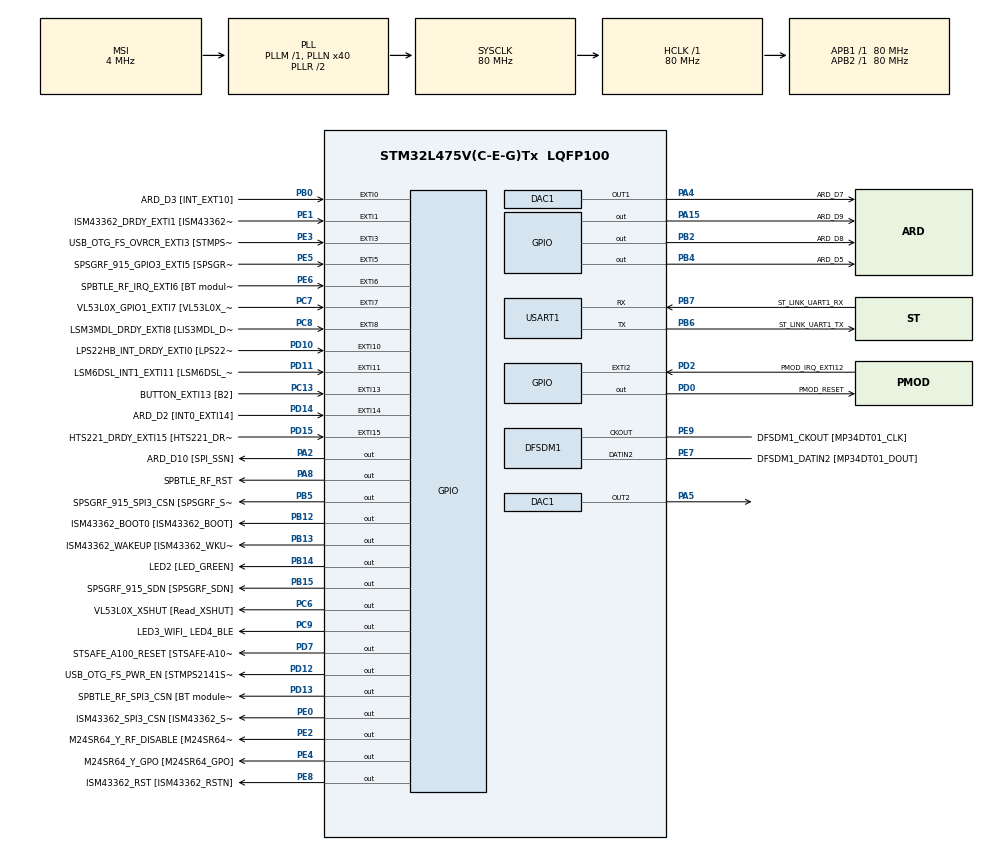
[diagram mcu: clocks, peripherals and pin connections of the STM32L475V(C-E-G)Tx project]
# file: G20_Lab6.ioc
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DAC1.DAC_Channel-DAC_OUT2=DAC_CHANNEL_2
DFSDM1.Divider=25
DFSDM1.FastMode_reg_FIL0=ENABLE
DFSDM1.FastMode_reg_FIL1=ENABLE
DFSDM1.Filter_regChannel_FIL0=DFSDM_CHANNEL_1
DFSDM1.Filter_regChannel_FIL1=DFSDM_CHANNEL_2
DFSDM1.Fosr_FIL0=200
DFSDM1.Fosr_FIL1=200
DFSDM1.SincOrder_FIL0=DFSDM_FILTER_SINC4_ORDER
DFSDM1.SincOrder_FIL1=DFSDM_FILTER_SINC4_ORDER
Dma.Request0=USART1_RX
Dma.Request1=USART1_TX
Dma.USART1_RX.0.Direction=DMA_PERIPH_TO_MEMORY
Dma.USART1_RX.0.Instance=DMA1_Channel5
Dma.USART1_RX.0.MemDataAlignment=DMA_MDATAALIGN_BYTE
Dma.USART1_RX.0.MemInc=DMA_MINC_ENABLE
Dma.USART1_RX.0.Mode=DMA_NORMAL
Dma.USART1_RX.0.PeriphDataAlignment=DMA_PDATAALIGN_BYTE
Dma.USART1_RX.0.PeriphInc=DMA_PINC_DISABLE
Dma.USART1_RX.0.Priority=DMA_PRIORITY_LOW
Dma.USART1_TX.1.Direction=DMA_MEMORY_TO_PERIPH
Dma.USART1_TX.1.Instance=DMA1_Channel4
Dma.USART1_TX.1.MemDataAlignment=DMA_MDATAALIGN_BYTE
Dma.USART1_TX.1.MemInc=DMA_MINC_ENABLE
Dma.USART1_TX.1.Mode=DMA_NORMAL
Dma.USART1_TX.1.PeriphDataAlignment=DMA_PDATAALIGN_BYTE
Dma.USART1_TX.1.PeriphInc=DMA_PINC_DISABLE
Dma.USART1_TX.1.Priority=DMA_PRIORITY_LOW
Mcu.Family=STM32L4
Mcu.Name=STM32L475V(C-E-G)Tx
Mcu.Package=LQFP100
NVIC.DMA1_Channel4_IRQn=true\:0\:0\:false\:false\:true\:false
NVIC.DMA1_Channel5_IRQn=true\:0\:0\:false\:false\:true\:false
NVIC.EXTI15_10_IRQn=true\:0\:0\:false\:false\:true\:true
NVIC.EXTI9_5_IRQn=true\:0\:0\:false\:false\:true\:true
NVIC.PriorityGroup=NVIC_PRIORITYGROUP_4
NVIC.TIM2_IRQn=true\:0\:0\:false\:false\:true\:true
NVIC.TIM6_DAC_IRQn=true\:0\:0\:false\:false\:true\:true
NVIC.USART1_IRQn=true\:0\:0\:false\:false\:true\:true
PA0.GPIO_Label=ARD_D1 [UART4_TX]
PA0.Signal=UART4_TX
PA1.GPIO_Label=ARD_D0 [UART4_RX]
PA1.Signal=UART4_RX
PA10.GPIO_Label=USB_OTG_FS_ID
PA10.Signal=USB_OTG_FS_ID
PA11.GPIO_Label=USB_OTG_FS_DM
PA11.Signal=USB_OTG_FS_DM
PA12.GPIO_Label=USB_OTG_FS_DP
PA12.Signal=USB_OTG_FS_DP
PA13\ (JTMS-SWDIO).GPIO_Label=SYS_JTMS_SWDIO
PA13\ (JTMS-SWDIO).Signal=SYS_JTMS-SWDIO
PA14\ (JTCK-SWCLK).GPIO_Label=SYS_JTCK_SWCLK
PA14\ (JTCK-SWCLK).Signal=SYS_JTCK-SWCLK
PA15\ (JTDI).GPIO_Label=ARD_D9
PA15\ (JTDI).Signal=GPIO_Output
PA2.GPIO_Label=ARD_D10 [SPI_SSN]
PA2.Signal=GPIO_Output
PA3.GPIO_Label=ARD_D4
PA3.Signal=S_TIM2_CH4
PA4.GPIO_Label=ARD_D7
PA4.Signal=SharedAnalog_PA4
PA5.Signal=COMP_DAC12_group
PA6.GPIO_Label=ARD_D12 [SPI1_MISO]
PA6.Signal=SPI1_MISO
PA7.GPIO_Label=ARD_D11 [SPI1_MOSI]
PA7.Signal=SPI1_MOSI
PA8.GPIO_Label=SPBTLE_RF_RST
PA8.Signal=GPIO_Output
PA9.GPIO_Label=USB_OTG_FS_VBUS [STMPS2141STR_OUT]
PA9.Signal=USB_OTG_FS_VBUS
PB0.GPIO_Label=ARD_D3 [INT_EXT10]
PB0.Signal=GPXTI0
PB1.GPIO_Label=ARD_D6 [ADC1_IN6]
PB1.Signal=ADCx_IN16
PB10.GPIO_Label=INTERNAL_I2C2_SCL [VL53L0X_SCL]
PB10.Signal=I2C2_SCL
PB11.GPIO_Label=INTERNAL_I2C2_SDA [VL53L0X_SDA]
PB11.Signal=I2C2_SDA
PB12.GPIO_Label=ISM43362_BOOT0 [ISM43362_BOOT]
PB12.Signal=GPIO_Output
PB13.GPIO_Label=ISM43362_WAKEUP [ISM43362_WKUP]
PB13.Signal=GPIO_Output
PB14.GPIO_Label=LED2 [LED_GREEN]
PB14.Signal=GPIO_Output
PB15.GPIO_Label=SPSGRF_915_SDN [SPSGRF_SDN]
PB15.Signal=GPIO_Output
PB2.GPIO_Label=ARD_D8
PB2.Signal=GPIO_Output
PB3\ (JTDO-TRACESWO).GPIO_Label=SYS_JTD0_SWO
PB3\ (JTDO-TRACESWO).Signal=SYS_JTDO-SWO
PB4\ (NJTRST).GPIO_Label=ARD_D5
PB4\ (NJTRST).Signal=GPIO_Output
PB5.GPIO_Label=SPSGRF_915_SPI3_CSN [SPSGRF_SPI_CS]
PB5.Signal=GPIO_Output
PB6.GPIO_Label=ST_LINK_UART1_TX
PB6.Mode=Asynchronous
PB6.Signal=USART1_TX
PB7.GPIO_Label=ST_LINK_UART1_RX
PB7.Mode=Asynchronous
PB7.Signal=USART1_RX
PB8.GPIO_Label=ARD_D15 [I2C1_SCL]
PB8.Signal=I2C1_SCL
PB9.GPIO_Label=ARD_D14 [I2C1_SDA]
PB9.Signal=I2C1_SDA
PC0.GPIO_Label=ARD_A5 [ADC]
PC0.Signal=ADCx_IN1
PC1.GPIO_Label=ARD_A4 [ADC]
PC1.Signal=ADCx_IN2
PC10.GPIO_Label=INTERNAL_SPI3_SCK [BT module_SPI_SCLK]
PC10.Signal=SPI3_SCK
PC11.GPIO_Label=INTERNAL_SPI3_MISO [BT module_SPI_MISO]
PC11.Signal=SPI3_MISO
PC12.GPIO_Label=INTERNAL_SPI3_MOSI [BT module_SPI_MOSI]
PC12.Signal=SPI3_MOSI
PC13.GPIO_Label=BUTTON_EXTI13 [B2]
PC13.GPIO_ModeDefaultEXTI=GPIO_MODE_IT_FALLING
PC13.Signal=GPXTI13
PC14-OSC32_IN\ (PC14).Signal=RCC_OSC32_IN
PC15-OSC32_OUT\ (PC15).Signal=RCC_OSC32_OUT
PC2.GPIO_Label=ARD_A3 [ADC]
PC2.Signal=ADCx_IN3
PC3.GPIO_Label=ARD_A2 [ADC]
PC3.Signal=ADCx_IN4
PC4.GPIO_Label=ARD_A1 [ADC]
PC4.Signal=ADCx_IN13
PC5.GPIO_Label=ARD_A0 [ADC]
PC5.Signal=ADCx_IN14
PC6.GPIO_Label=VL53L0X_XSHUT [Read_XSHUT]
PC6.Signal=GPIO_Output
PC7.GPIO_Label=VL53L0X_GPIO1_EXTI7 [VL53L0X_GPIO1]
PC7.Signal=GPXTI7
PC8.GPIO_Label=LSM3MDL_DRDY_EXTI8 [LIS3MDL_DRDY]
PC8.Signal=GPXTI8
PC9.GPIO_Label=LED3_WIFI_ LED4_BLE
PC9.Signal=GPIO_Output
PD0.GPIO_Label=PMOD_RESET
PD0.Signal=GPIO_Output
PD1.GPIO_Label=PMOD_SPI2_SCK
PD1.Signal=SPI2_SCK
PD10.GPIO_Label=LPS22HB_INT_DRDY_EXTI0 [LPS22HB_INT_DRDY] 
PD10.Signal=GPXTI10
PD11.GPIO_Label=LSM6DSL_INT1_EXTI11 [LSM6DSL_INT1]
PD11.Signal=GPXTI11
PD12.GPIO_Label=USB_OTG_FS_PWR_EN [STMPS2141STR_EN]
PD12.Signal=GPIO_Output
PD13.GPIO_Label=SPBTLE_RF_SPI3_CSN [BT module_SPI_CS]
PD13.Signal=GPIO_Output
PD14.GPIO_Label=ARD_D2 [INT0_EXTI14]
PD14.Signal=GPXTI14
PD15.GPIO_Label=HTS221_DRDY_EXTI15 [HTS221_DRDY]
PD15.Signal=GPXTI15
PD2.GPIO_Label=PMOD_IRQ_EXTI12
PD2.Signal=GPXTI2
PD3.GPIO_Label=PMOD_UART2_CTS
PD3.Signal=USART2_CTS
PD4.GPIO_Label=PMOD_UART2_RTS
PD4.Signal=USART2_RTS
PD5.GPIO_Label=PMOD_UART2_TX
PD5.Signal=USART2_TX
PD6.GPIO_Label=PMOD_UART2_RX
PD6.Signal=USART2_RX
PD7.GPIO_Label=STSAFE_A100_RESET [STSAFE-A100_RESET]
PD7.Signal=GPIO_Output
PD8.GPIO_Label=INTERNAL_UART3_TX [ISM43362_RX]
PD8.Signal=USART3_TX
PD9.GPIO_Label=INTERNAL_UART3_RX [ISM43362_TX]
PD9.Signal=USART3_RX
PE0.GPIO_Label=ISM43362_SPI3_CSN [ISM43362_SSN]
PE0.Signal=GPIO_Output
PE1.GPIO_Label=ISM43362_DRDY_EXTI1 [ISM43362_DATARDY]
PE1.Signal=GPXTI1
PE10.GPIO_Label=QUADSPI_CLK [MX25R6435F_SCLK]
PE10.Signal=QUADSPI_CLK
PE11.GPIO_Label=QUADSPI_NCS [MX25R6435F_SCLK]
PE11.Signal=QUADSPI_NCS
PE12.GPIO_Label=OQUADSPI_BK1_IO0 [MX25R6435F_IO0]
PE12.Signal=QUADSPI_BK1_IO0
PE13.GPIO_Label=QUADSPI_BK1_IO1 [MX25R6435F_IO1]
PE13.Signal=QUADSPI_BK1_IO1
PE14.GPIO_Label=QUAD_SPI_BK1_IO2 [MX25R6435F_IO2]
PE14.Signal=QUADSPI_BK1_IO2
PE15.GPIO_Label=QUAD_SPI_BK1_IO3 [MX25R6435F_IO3]
PE15.Signal=QUADSPI_BK1_IO3
PE2.GPIO_Label=M24SR64_Y_RF_DISABLE [M24SR64_RFDIS]
PE2.Signal=GPIO_Output
PE3.GPIO_Label=USB_OTG_FS_OVRCR_EXTI3 [STMPS2141STR_FAULT]
PE3.Signal=GPXTI3
PE4.GPIO_Label=M24SR64_Y_GPO [M24SR64_GPO]
PE4.Signal=GPIO_Output
PE5.GPIO_Label=SPSGRF_915_GPIO3_EXTI5 [SPSGRF_GPIO_3]
PE5.Signal=GPXTI5
PE6.GPIO_Label=SPBTLE_RF_IRQ_EXTI6 [BT module_SPI_IRQ]
PE6.Signal=GPXTI6
PE7.GPIO_Label=DFSDM1_DATIN2 [MP34DT01_DOUT]
PE7.Signal=S_DATAIN2DFSDM1
PE8.GPIO_Label=ISM43362_RST [ISM43362_RSTN]
PE8.Signal=GPIO_Output
PE9.GPIO_Label=DFSDM1_CKOUT [MP34DT01_CLK]
PE9.Signal=S_CKOUTDFSDM1
ProjectManager.HeapSize=0x200
ProjectManager.StackSize=0x400
ProjectManager.TargetToolchain=MDK-ARM V5
RCC.ADCFreq_Value=48000000
RCC.AHBFreq_Value=80000000
RCC.APB1Freq_Value=80000000
RCC.APB1TimFreq_Value=80000000
RCC.APB2Freq_Value=80000000
RCC.APB2TimFreq_Value=80000000
RCC.CortexFreq_Value=80000000
RCC.HCLKFreq_Value=80000000
RCC.HSE_VALUE=8000000
RCC.HSI_VALUE=16000000
RCC.LSE_VALUE=32768
RCC.MSI_VALUE=4000000
RCC.PLLN=40
RCC.PLLSAI1N=24
RCC.SYSCLKFreq_VALUE=80000000
RCC.SYSCLKSource=RCC_SYSCLKSOURCE_PLLCLK
RCC.USBFreq_Value=48000000
RCC.VCOOutputFreq_Value=160000000
SH.ADCx_IN1.0=ADC1_IN1
SH.ADCx_IN13.0=ADC1_IN13
SH.ADCx_IN14.0=ADC1_IN14
SH.ADCx_IN16.0=ADC1_IN16
SH.ADCx_IN2.0=ADC1_IN2
SH.ADCx_IN3.0=ADC1_IN3
SH.ADCx_IN4.0=ADC1_IN4
SH.COMP_DAC12_group.0=DAC1_OUT2,DAC_OUT2
SH.S_CKOUTDFSDM1.0=DFSDM1_CKOUT,PDM_SPI_Input_from_ch12_and_Internal_Clock
SH.S_CKOUTDFSDM1.1=DFSDM1_CKOUT,PDM_SPI_input_from_ch2_and_internal_clock
SH.S_DATAIN2DFSDM1.0=DFSDM1_DATIN2,PDM_SPI_Input_from_ch12_and_Internal_Clock
SH.S_DATAIN2DFSDM1.1=DFSDM1_DATIN2,PDM_SPI_input_from_ch2_and_internal_clock
SH.S_TIM2_CH4.0=TIM2_CH4
SH.SharedAnalog_PA4.0=ADC1_IN9
SH.SharedAnalog_PA4.1=DAC1_OUT1,DAC_OUT1
USART1.VirtualMode-Asynchronous=VM_ASYNC
VP_TIM2_VS_ClockSourceINT.Mode=Internal
board=B-L475E-IOT01A

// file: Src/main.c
/**
  ******************************************************************************
  * @file           : main.c
  * @brief          : Main program body
  ******************************************************************************
  ** This notice applies to any and all portions of this file
  * that are not between comment pairs USER CODE BEGIN and
  * USER CODE END. Other portions of this file, whether
  * inserted by the user or by software development tools
  * are owned by their respective copyright owners.
  *
  * COPYRIGHT(c) 2018 STMicroelectronics
  *
  * Redistribution and use in source and binary forms, with or without modification,
  * are permitted provided that the following conditions are met:
  *   1. Redistributions of source code must retain the above copyright notice,
  *      this list of conditions and the following disclaimer.
  *   2. Redistributions in binary form must reproduce the above copyright notice,
  *      this list of conditions and the following disclaimer in the documentation
  *      and/or other materials provided with the distribution.
  *   3. Neither the name of STMicroelectronics nor the names of its contributors
  *      may be used to endorse or promote products derived from this software
  *      without specific prior written permission.
  *
  * THIS SOFTWARE IS PROVIDED BY THE COPYRIGHT HOLDERS AND CONTRIBUTORS "AS IS"
  * AND ANY EXPRESS OR IMPLIED WARRANTIES, INCLUDING, BUT NOT LIMITED TO, THE
  * IMPLIED WARRANTIES OF MERCHANTABILITY AND FITNESS FOR A PARTICULAR PURPOSE ARE
  * DISCLAIMED. IN NO EVENT SHALL THE COPYRIGHT HOLDER OR CONTRIBUTORS BE LIABLE
  * FOR ANY DIRECT, INDIRECT, INCIDENTAL, SPECIAL, EXEMPLARY, OR CONSEQUENTIAL
  * DAMAGES (INCLUDING, BUT NOT LIMITED TO, PROCUREMENT OF SUBSTITUTE GOODS OR
  * SERVICES; LOSS OF USE, DATA, OR PROFITS; OR BUSINESS INTERRUPTION) HOWEVER
  * CAUSED AND ON ANY THEORY OF LIABILITY, WHETHER IN CONTRACT, STRICT LIABILITY,
  * OR TORT (INCLUDING NEGLIGENCE OR OTHERWISE) ARISING IN ANY WAY OUT OF THE USE
  * OF THIS SOFTWARE, EVEN IF ADVISED OF THE POSSIBILITY OF SUCH DAMAGE.
  *
  ******************************************************************************
  */
#include "main.h"
#include "stm32l4xx_hal.h"

DAC_HandleTypeDef hdac1;

DFSDM_Filter_HandleTypeDef hdfsdm1_filter0;
DFSDM_Filter_HandleTypeDef hdfsdm1_filter1;
DFSDM_Channel_HandleTypeDef hdfsdm1_channel1;
DFSDM_Channel_HandleTypeDef hdfsdm1_channel2;

TIM_HandleTypeDef htim2;

UART_HandleTypeDef huart1;
DMA_HandleTypeDef hdma_usart1_rx;
DMA_HandleTypeDef hdma_usart1_tx;

/* USER CODE BEGIN PV */
/* Private variables ---------------------------------------------------------*/

/* USER CODE END PV */

void SystemClock_Config(void);
static void MX_GPIO_Init(void);
static void MX_DMA_Init(void);
static void MX_DAC1_Init(void);
static void MX_DFSDM1_Init(void);
static void MX_TIM2_Init(void);
static void MX_USART1_UART_Init(void);

/* USER CODE BEGIN PFP */
/* Private function prototypes -----------------------------------------------*/

/* USER CODE END PFP */

/* USER CODE BEGIN 0 */

//Create array with 160,000 samples to hold the number of samples in 10s with 16kHz sampling frequency.
int audioData_ch1[2000];
int audioData_ch2[2000];
int audioCounter = 0;
int recordCount = 0;

uint32_t l_channel1 = 1, r_channel1 = 2;

// Global interrupt flag
int tim_interrupt = 0;

/* USER CODE END 0 */

int main(void)
{

  /* MCU Configuration----------------------------------------------------------*/

  /* Reset of all peripherals, Initializes the Flash interface and the Systick. */
  HAL_Init();

  /* Configure the system clock */
  SystemClock_Config();

  /* Initialize all configured peripherals */
  MX_GPIO_Init();
  MX_DMA_Init();
  MX_DAC1_Init();
  MX_DFSDM1_Init();
  MX_TIM2_Init();
  MX_USART1_UART_Init();
	HAL_DAC_Start(&hdac1, DAC1_CHANNEL_1);
	HAL_DAC_Start(&hdac1, DAC1_CHANNEL_2);
  /* Infinite loop */
  while (1)
  {

  /* USER CODE BEGIN 3 */
		HAL_DFSDM_FilterRegularStart(&hdfsdm1_filter0);
		HAL_DFSDM_FilterRegularStart(&hdfsdm1_filter1);

		if(!HAL_GPIO_ReadPin(GPIOC, GPIO_PIN_13)){
			HAL_GPIO_WritePin(GPIOB, GPIO_PIN_14, GPIO_PIN_SET);

			if(HAL_DFSDM_FilterPollForRegConversion(&hdfsdm1_filter0, 1000) == HAL_OK){
				audioData_ch1[0] = HAL_DFSDM_FilterGetRegularValue(&hdfsdm1_filter0, &l_channel1);
				audioData_ch2[0] = HAL_DFSDM_FilterGetRegularValue(&hdfsdm1_filter1, &r_channel1);

				HAL_DAC_SetValue(&hdac1, DAC_CHANNEL_1, DAC_ALIGN_12B_R, HAL_DFSDM_FilterGetRegularValue(&hdfsdm1_filter0, &l_channel1));
				HAL_DAC_SetValue(&hdac1, DAC_CHANNEL_2, DAC_ALIGN_12B_R, HAL_DFSDM_FilterGetRegularValue(&hdfsdm1_filter1, &r_channel1));
			}
		} else {
			HAL_GPIO_WritePin(GPIOB, GPIO_PIN_14, GPIO_PIN_RESET);
				HAL_DAC_SetValue(&hdac1, DAC_CHANNEL_1, DAC_ALIGN_12B_R, 0);
				HAL_DAC_SetValue(&hdac1, DAC_CHANNEL_2, DAC_ALIGN_12B_R, 0);
		}
  }
  /* USER CODE END 3 */

}

void SystemClock_Config(void)
{

  RCC_OscInitTypeDef RCC_OscInitStruct;
  RCC_ClkInitTypeDef RCC_ClkInitStruct;
  RCC_PeriphCLKInitTypeDef PeriphClkInit;

    /**Initializes the CPU, AHB and APB busses clocks
    */
  RCC_OscInitStruct.OscillatorType = RCC_OSCILLATORTYPE_MSI;
  RCC_OscInitStruct.MSIState = RCC_MSI_ON;
  RCC_OscInitStruct.MSICalibrationValue = 0;
  RCC_OscInitStruct.MSIClockRange = RCC_MSIRANGE_6;
  RCC_OscInitStruct.PLL.PLLState = RCC_PLL_ON;
  RCC_OscInitStruct.PLL.PLLSource = RCC_PLLSOURCE_MSI;
  RCC_OscInitStruct.PLL.PLLM = 1;
  RCC_OscInitStruct.PLL.PLLN = 40;
  RCC_OscInitStruct.PLL.PLLP = RCC_PLLP_DIV7;
  RCC_OscInitStruct.PLL.PLLQ = RCC_PLLQ_DIV2;
  RCC_OscInitStruct.PLL.PLLR = RCC_PLLR_DIV2;
  if (HAL_RCC_OscConfig(&RCC_OscInitStruct) != HAL_OK)
  {
    _Error_Handler(__FILE__, __LINE__);
  }

    /**Initializes the CPU, AHB and APB busses clocks
    */
  RCC_ClkInitStruct.ClockType = RCC_CLOCKTYPE_HCLK|RCC_CLOCKTYPE_SYSCLK
                              |RCC_CLOCKTYPE_PCLK1|RCC_CLOCKTYPE_PCLK2;
  RCC_ClkInitStruct.SYSCLKSource = RCC_SYSCLKSOURCE_PLLCLK;
  RCC_ClkInitStruct.AHBCLKDivider = RCC_SYSCLK_DIV1;
  RCC_ClkInitStruct.APB1CLKDivider = RCC_HCLK_DIV1;
  RCC_ClkInitStruct.APB2CLKDivider = RCC_HCLK_DIV1;

  if (HAL_RCC_ClockConfig(&RCC_ClkInitStruct, FLASH_LATENCY_4) != HAL_OK)
  {
    _Error_Handler(__FILE__, __LINE__);
  }

  PeriphClkInit.PeriphClockSelection = RCC_PERIPHCLK_USART1|RCC_PERIPHCLK_DFSDM1;
  PeriphClkInit.Usart1ClockSelection = RCC_USART1CLKSOURCE_PCLK2;
  PeriphClkInit.Dfsdm1ClockSelection = RCC_DFSDM1CLKSOURCE_PCLK;
  if (HAL_RCCEx_PeriphCLKConfig(&PeriphClkInit) != HAL_OK)
  {
    _Error_Handler(__FILE__, __LINE__);
  }

    /**Configure the main internal regulator output voltage
    */
  if (HAL_PWREx_ControlVoltageScaling(PWR_REGULATOR_VOLTAGE_SCALE1) != HAL_OK)
  {
    _Error_Handler(__FILE__, __LINE__);
  }

    /**Configure the Systick interrupt time
    */
  HAL_SYSTICK_Config(HAL_RCC_GetHCLKFreq()/1000);

    /**Configure the Systick
    */
  HAL_SYSTICK_CLKSourceConfig(SYSTICK_CLKSOURCE_HCLK);

  /* SysTick_IRQn interrupt configuration */
  HAL_NVIC_SetPriority(SysTick_IRQn, 0, 0);
}

/* DAC1 init function */
static void MX_DAC1_Init(void)
{

  DAC_ChannelConfTypeDef sConfig;

    /**DAC Initialization
    */
  hdac1.Instance = DAC1;
  if (HAL_DAC_Init(&hdac1) != HAL_OK)
  {
    _Error_Handler(__FILE__, __LINE__);
  }

    /**DAC channel OUT1 config
    */
  sConfig.DAC_SampleAndHold = DAC_SAMPLEANDHOLD_DISABLE;
  sConfig.DAC_Trigger = DAC_TRIGGER_NONE;
  sConfig.DAC_OutputBuffer = DAC_OUTPUTBUFFER_ENABLE;
  sConfig.DAC_ConnectOnChipPeripheral = DAC_CHIPCONNECT_DISABLE;
  sConfig.DAC_UserTrimming = DAC_TRIMMING_FACTORY;
  if (HAL_DAC_ConfigChannel(&hdac1, &sConfig, DAC_CHANNEL_1) != HAL_OK)
  {
    _Error_Handler(__FILE__, __LINE__);
  }

    /**DAC channel OUT2 config
    */
  sConfig.DAC_ConnectOnChipPeripheral = DAC_CHIPCONNECT_DISABLE;
  if (HAL_DAC_ConfigChannel(&hdac1, &sConfig, DAC_CHANNEL_2) != HAL_OK)
  {
    _Error_Handler(__FILE__, __LINE__);
  }

}

/* DFSDM1 init function */
static void MX_DFSDM1_Init(void)
{

  hdfsdm1_filter0.Instance = DFSDM1_Filter0;
  hdfsdm1_filter0.Init.RegularParam.Trigger = DFSDM_FILTER_SW_TRIGGER;
  hdfsdm1_filter0.Init.RegularParam.FastMode = ENABLE;
  hdfsdm1_filter0.Init.RegularParam.DmaMode = DISABLE;
  hdfsdm1_filter0.Init.FilterParam.SincOrder = DFSDM_FILTER_SINC4_ORDER;
  hdfsdm1_filter0.Init.FilterParam.Oversampling = 100;
  hdfsdm1_filter0.Init.FilterParam.IntOversampling = 1;
  if (HAL_DFSDM_FilterInit(&hdfsdm1_filter0) != HAL_OK)
  {
    _Error_Handler(__FILE__, __LINE__);
  }

  hdfsdm1_filter1.Instance = DFSDM1_Filter1;
  hdfsdm1_filter1.Init.RegularParam.Trigger = DFSDM_FILTER_SW_TRIGGER;
  hdfsdm1_filter1.Init.RegularParam.FastMode = ENABLE;
  hdfsdm1_filter1.Init.RegularParam.DmaMode = DISABLE;
  hdfsdm1_filter1.Init.FilterParam.SincOrder = DFSDM_FILTER_SINC4_ORDER;
  hdfsdm1_filter1.Init.FilterParam.Oversampling = 100;
  hdfsdm1_filter1.Init.FilterParam.IntOversampling = 1;
  if (HAL_DFSDM_FilterInit(&hdfsdm1_filter1) != HAL_OK)
  {
    _Error_Handler(__FILE__, __LINE__);
  }

  hdfsdm1_channel1.Instance = DFSDM1_Channel1;
  hdfsdm1_channel1.Init.OutputClock.Activation = ENABLE;
  hdfsdm1_channel1.Init.OutputClock.Selection = DFSDM_CHANNEL_OUTPUT_CLOCK_SYSTEM;
  hdfsdm1_channel1.Init.OutputClock.Divider = 50;
  hdfsdm1_channel1.Init.Input.Multiplexer = DFSDM_CHANNEL_EXTERNAL_INPUTS;
  hdfsdm1_channel1.Init.Input.DataPacking = DFSDM_CHANNEL_STANDARD_MODE;
  hdfsdm1_channel1.Init.Input.Pins = DFSDM_CHANNEL_FOLLOWING_CHANNEL_PINS;
  hdfsdm1_channel1.Init.SerialInterface.Type = DFSDM_CHANNEL_SPI_RISING;
  hdfsdm1_channel1.Init.SerialInterface.SpiClock = DFSDM_CHANNEL_SPI_CLOCK_INTERNAL;
  hdfsdm1_channel1.Init.Awd.FilterOrder = DFSDM_CHANNEL_FASTSINC_ORDER;
  hdfsdm1_channel1.Init.Awd.Oversampling = 1;
  hdfsdm1_channel1.Init.Offset = -600;
  hdfsdm1_channel1.Init.RightBitShift = 0x10;
  if (HAL_DFSDM_ChannelInit(&hdfsdm1_channel1) != HAL_OK)
  {
    _Error_Handler(__FILE__, __LINE__);
  }

  hdfsdm1_channel2.Instance = DFSDM1_Channel2;
  hdfsdm1_channel2.Init.OutputClock.Activation = ENABLE;
  hdfsdm1_channel2.Init.OutputClock.Selection = DFSDM_CHANNEL_OUTPUT_CLOCK_SYSTEM;
  hdfsdm1_channel2.Init.OutputClock.Divider = 50;
  hdfsdm1_channel2.Init.Input.Multiplexer = DFSDM_CHANNEL_EXTERNAL_INPUTS;
  hdfsdm1_channel2.Init.Input.DataPacking = DFSDM_CHANNEL_STANDARD_MODE;
  hdfsdm1_channel2.Init.Input.Pins = DFSDM_CHANNEL_SAME_CHANNEL_PINS;
  hdfsdm1_channel2.Init.SerialInterface.Type = DFSDM_CHANNEL_SPI_RISING;
  hdfsdm1_channel2.Init.SerialInterface.SpiClock = DFSDM_CHANNEL_SPI_CLOCK_INTERNAL;
  hdfsdm1_channel2.Init.Awd.FilterOrder = DFSDM_CHANNEL_FASTSINC_ORDER;
  hdfsdm1_channel2.Init.Awd.Oversampling = 1;
  hdfsdm1_channel2.Init.Offset = -600;
  hdfsdm1_channel2.Init.RightBitShift = 0x10;
  if (HAL_DFSDM_ChannelInit(&hdfsdm1_channel2) != HAL_OK)
  {
    _Error_Handler(__FILE__, __LINE__);
  }

  if (HAL_DFSDM_FilterConfigRegChannel(&hdfsdm1_filter0, DFSDM_CHANNEL_1, DFSDM_CONTINUOUS_CONV_ON) != HAL_OK)
  {
    _Error_Handler(__FILE__, __LINE__);
  }

  if (HAL_DFSDM_FilterConfigRegChannel(&hdfsdm1_filter1, DFSDM_CHANNEL_2, DFSDM_CONTINUOUS_CONV_ON) != HAL_OK)
  {
    _Error_Handler(__FILE__, __LINE__);
  }

}

/* TIM2 init function */
static void MX_TIM2_Init(void)
{

  TIM_ClockConfigTypeDef sClockSourceConfig;
  TIM_MasterConfigTypeDef sMasterConfig;

  htim2.Instance = TIM2;
  htim2.Init.Prescaler = 10;
  htim2.Init.CounterMode = TIM_COUNTERMODE_UP;
  htim2.Init.Period = 500;
  htim2.Init.ClockDivision = TIM_CLOCKDIVISION_DIV1;
  htim2.Init.AutoReloadPreload = TIM_AUTORELOAD_PRELOAD_DISABLE;
  if (HAL_TIM_Base_Init(&htim2) != HAL_OK)
  {
    _Error_Handler(__FILE__, __LINE__);
  }

  sClockSourceConfig.ClockSource = TIM_CLOCKSOURCE_INTERNAL;
  if (HAL_TIM_ConfigClockSource(&htim2, &sClockSourceConfig) != HAL_OK)
  {
    _Error_Handler(__FILE__, __LINE__);
  }

  sMasterConfig.MasterOutputTrigger = TIM_TRGO_RESET;
  sMasterConfig.MasterSlaveMode = TIM_MASTERSLAVEMODE_DISABLE;
  if (HAL_TIMEx_MasterConfigSynchronization(&htim2, &sMasterConfig) != HAL_OK)
  {
    _Error_Handler(__FILE__, __LINE__);
  }

}

/* USART1 init function */
static void MX_USART1_UART_Init(void)
{

  huart1.Instance = USART1;
  huart1.Init.BaudRate = 115200;
  huart1.Init.WordLength = UART_WORDLENGTH_8B;
  huart1.Init.StopBits = UART_STOPBITS_1;
  huart1.Init.Parity = UART_PARITY_NONE;
  huart1.Init.Mode = UART_MODE_TX_RX;
  huart1.Init.HwFlowCtl = UART_HWCONTROL_NONE;
  huart1.Init.OverSampling = UART_OVERSAMPLING_16;
  huart1.Init.OneBitSampling = UART_ONE_BIT_SAMPLE_DISABLE;
  huart1.AdvancedInit.AdvFeatureInit = UART_ADVFEATURE_NO_INIT;
  if (HAL_UART_Init(&huart1) != HAL_OK)
  {
    _Error_Handler(__FILE__, __LINE__);
  }

}

static void MX_DMA_Init(void)
{
  /* DMA controller clock enable */
  __HAL_RCC_DMA1_CLK_ENABLE();

  /* DMA interrupt init */
  /* DMA1_Channel4_IRQn interrupt configuration */
  HAL_NVIC_SetPriority(DMA1_Channel4_IRQn, 0, 0);
  HAL_NVIC_EnableIRQ(DMA1_Channel4_IRQn);
  /* DMA1_Channel5_IRQn interrupt configuration */
  HAL_NVIC_SetPriority(DMA1_Channel5_IRQn, 0, 0);
  HAL_NVIC_EnableIRQ(DMA1_Channel5_IRQn);

}

/** Configure pins as
        * Analog
        * Input
        * Output
        * EVENT_OUT
        * EXTI
     PC0   ------> ADCx_IN1
     PC1   ------> ADCx_IN2
     PC2   ------> ADCx_IN3
     PC3   ------> ADCx_IN4
     PA0   ------> UART4_TX
     PA1   ------> UART4_RX
     PA4   ------> SharedAnalog_PA4
     PA6   ------> SPI1_MISO
     PA7   ------> SPI1_MOSI
     PC4   ------> ADCx_IN13
     PC5   ------> ADCx_IN14
     PB1   ------> ADCx_IN16
     PE10   ------> QUADSPI_CLK
     PE11   ------> QUADSPI_NCS
     PE12   ------> QUADSPI_BK1_IO0
     PE13   ------> QUADSPI_BK1_IO1
     PE14   ------> QUADSPI_BK1_IO2
     PE15   ------> QUADSPI_BK1_IO3
     PB10   ------> I2C2_SCL
     PB11   ------> I2C2_SDA
     PD8   ------> USART3_TX
     PD9   ------> USART3_RX
     PA9   ------> USB_OTG_FS_VBUS
     PA10   ------> USB_OTG_FS_ID
     PA11   ------> USB_OTG_FS_DM
     PA12   ------> USB_OTG_FS_DP
     PC10   ------> SPI3_SCK
     PC11   ------> SPI3_MISO
     PC12   ------> SPI3_MOSI
     PD1   ------> SPI2_SCK
     PD3   ------> USART2_CTS
     PD4   ------> USART2_RTS
     PD5   ------> USART2_TX
     PD6   ------> USART2_RX
     PB8   ------> I2C1_SCL
     PB9   ------> I2C1_SDA
*/
static void MX_GPIO_Init(void)
{

  GPIO_InitTypeDef GPIO_InitStruct;

  /* GPIO Ports Clock Enable */
  __HAL_RCC_GPIOE_CLK_ENABLE();
  __HAL_RCC_GPIOC_CLK_ENABLE();
  __HAL_RCC_GPIOA_CLK_ENABLE();
  __HAL_RCC_GPIOB_CLK_ENABLE();
  __HAL_RCC_GPIOD_CLK_ENABLE();

  /*Configure GPIO pin Output Level */
  HAL_GPIO_WritePin(GPIOE, M24SR64_Y_RF_DISABLE_Pin|M24SR64_Y_GPO_Pin|ISM43362_RST_Pin|ISM43362_SPI3_CSN_Pin, GPIO_PIN_RESET);

  /*Configure GPIO pin Output Level */
  HAL_GPIO_WritePin(GPIOA, ARD_D10_Pin|SPBTLE_RF_RST_Pin|ARD_D9_Pin, GPIO_PIN_RESET);

  /*Configure GPIO pin Output Level */
  HAL_GPIO_WritePin(GPIOB, ARD_D8_Pin|ISM43362_BOOT0_Pin|ISM43362_WAKEUP_Pin|LED2_Pin
                          |SPSGRF_915_SDN_Pin|ARD_D5_Pin|SPSGRF_915_SPI3_CSN_Pin, GPIO_PIN_RESET);

  /*Configure GPIO pin Output Level */
  HAL_GPIO_WritePin(GPIOD, USB_OTG_FS_PWR_EN_Pin|SPBTLE_RF_SPI3_CSN_Pin|PMOD_RESET_Pin|STSAFE_A100_RESET_Pin, GPIO_PIN_RESET);

  /*Configure GPIO pin Output Level */
  HAL_GPIO_WritePin(GPIOC, VL53L0X_XSHUT_Pin|LED3_WIFI__LED4_BLE_Pin, GPIO_PIN_RESET);

  /*Configure GPIO pins : M24SR64_Y_RF_DISABLE_Pin M24SR64_Y_GPO_Pin ISM43362_RST_Pin ISM43362_SPI3_CSN_Pin */
  GPIO_InitStruct.Pin = M24SR64_Y_RF_DISABLE_Pin|M24SR64_Y_GPO_Pin|ISM43362_RST_Pin|ISM43362_SPI3_CSN_Pin;
  GPIO_InitStruct.Mode = GPIO_MODE_OUTPUT_PP;
  GPIO_InitStruct.Pull = GPIO_NOPULL;
  GPIO_InitStruct.Speed = GPIO_SPEED_FREQ_LOW;
  HAL_GPIO_Init(GPIOE, &GPIO_InitStruct);

  /*Configure GPIO pins : USB_OTG_FS_OVRCR_EXTI3_Pin SPSGRF_915_GPIO3_EXTI5_Pin SPBTLE_RF_IRQ_EXTI6_Pin ISM43362_DRDY_EXTI1_Pin */
  GPIO_InitStruct.Pin = USB_OTG_FS_OVRCR_EXTI3_Pin|SPSGRF_915_GPIO3_EXTI5_Pin|SPBTLE_RF_IRQ_EXTI6_Pin|ISM43362_DRDY_EXTI1_Pin;
  GPIO_InitStruct.Mode = GPIO_MODE_IT_RISING;
  GPIO_InitStruct.Pull = GPIO_NOPULL;
  HAL_GPIO_Init(GPIOE, &GPIO_InitStruct);

  /*Configure GPIO pin : BUTTON_EXTI13_Pin */
  GPIO_InitStruct.Pin = BUTTON_EXTI13_Pin;
  GPIO_InitStruct.Mode = GPIO_MODE_IT_FALLING;
  GPIO_InitStruct.Pull = GPIO_NOPULL;
  HAL_GPIO_Init(BUTTON_EXTI13_GPIO_Port, &GPIO_InitStruct);

  /*Configure GPIO pins : ARD_A5_Pin ARD_A4_Pin ARD_A3_Pin ARD_A2_Pin
                           ARD_A1_Pin ARD_A0_Pin */
  GPIO_InitStruct.Pin = ARD_A5_Pin|ARD_A4_Pin|ARD_A3_Pin|ARD_A2_Pin
                          |ARD_A1_Pin|ARD_A0_Pin;
  GPIO_InitStruct.Mode = GPIO_MODE_ANALOG_ADC_CONTROL;
  GPIO_InitStruct.Pull = GPIO_NOPULL;
  HAL_GPIO_Init(GPIOC, &GPIO_InitStruct);

  /*Configure GPIO pins : ARD_D1_Pin ARD_D0_Pin */
  GPIO_InitStruct.Pin = ARD_D1_Pin|ARD_D0_Pin;
  GPIO_InitStruct.Mode = GPIO_MODE_AF_PP;
  GPIO_InitStruct.Pull = GPIO_NOPULL;
  GPIO_InitStruct.Speed = GPIO_SPEED_FREQ_VERY_HIGH;
  GPIO_InitStruct.Alternate = GPIO_AF8_UART4;
  HAL_GPIO_Init(GPIOA, &GPIO_InitStruct);

  /*Configure GPIO pins : ARD_D10_Pin SPBTLE_RF_RST_Pin ARD_D9_Pin */
  GPIO_InitStruct.Pin = ARD_D10_Pin|SPBTLE_RF_RST_Pin|ARD_D9_Pin;
  GPIO_InitStruct.Mode = GPIO_MODE_OUTPUT_PP;
  GPIO_InitStruct.Pull = GPIO_NOPULL;
  GPIO_InitStruct.Speed = GPIO_SPEED_FREQ_LOW;
  HAL_GPIO_Init(GPIOA, &GPIO_InitStruct);

  /*Configure GPIO pin : ARD_D7_Pin */
  GPIO_InitStruct.Pin = ARD_D7_Pin;
  GPIO_InitStruct.Mode = GPIO_MODE_ANALOG;
  GPIO_InitStruct.Pull = GPIO_NOPULL;
  HAL_GPIO_Init(ARD_D7_GPIO_Port, &GPIO_InitStruct);

  /*Configure GPIO pins : ARD_D12_Pin ARD_D11_Pin */
  GPIO_InitStruct.Pin = ARD_D12_Pin|ARD_D11_Pin;
  GPIO_InitStruct.Mode = GPIO_MODE_AF_PP;
  GPIO_InitStruct.Pull = GPIO_NOPULL;
  GPIO_InitStruct.Speed = GPIO_SPEED_FREQ_VERY_HIGH;
  GPIO_InitStruct.Alternate = GPIO_AF5_SPI1;
  HAL_GPIO_Init(GPIOA, &GPIO_InitStruct);

  /*Configure GPIO pin : ARD_D3_Pin */
  GPIO_InitStruct.Pin = ARD_D3_Pin;
  GPIO_InitStruct.Mode = GPIO_MODE_IT_RISING;
  GPIO_InitStruct.Pull = GPIO_NOPULL;
  HAL_GPIO_Init(ARD_D3_GPIO_Port, &GPIO_InitStruct);

  /*Configure GPIO pin : ARD_D6_Pin */
  GPIO_InitStruct.Pin = ARD_D6_Pin;
  GPIO_InitStruct.Mode = GPIO_MODE_ANALOG_ADC_CONTROL;
  GPIO_InitStruct.Pull = GPIO_NOPULL;
  HAL_GPIO_Init(ARD_D6_GPIO_Port, &GPIO_InitStruct);

  /*Configure GPIO pins : ARD_D8_Pin ISM43362_BOOT0_Pin ISM43362_WAKEUP_Pin LED2_Pin
                           SPSGRF_915_SDN_Pin ARD_D5_Pin SPSGRF_915_SPI3_CSN_Pin */
  GPIO_InitStruct.Pin = ARD_D8_Pin|ISM43362_BOOT0_Pin|ISM43362_WAKEUP_Pin|LED2_Pin
                          |SPSGRF_915_SDN_Pin|ARD_D5_Pin|SPSGRF_915_SPI3_CSN_Pin;
  GPIO_InitStruct.Mode = GPIO_MODE_OUTPUT_PP;
  GPIO_InitStruct.Pull = GPIO_NOPULL;
  GPIO_InitStruct.Speed = GPIO_SPEED_FREQ_LOW;
  HAL_GPIO_Init(GPIOB, &GPIO_InitStruct);

  /*Configure GPIO pins : QUADSPI_CLK_Pin QUADSPI_NCS_Pin OQUADSPI_BK1_IO0_Pin QUADSPI_BK1_IO1_Pin
                           QUAD_SPI_BK1_IO2_Pin QUAD_SPI_BK1_IO3_Pin */
  GPIO_InitStruct.Pin = QUADSPI_CLK_Pin|QUADSPI_NCS_Pin|OQUADSPI_BK1_IO0_Pin|QUADSPI_BK1_IO1_Pin
                          |QUAD_SPI_BK1_IO2_Pin|QUAD_SPI_BK1_IO3_Pin;
  GPIO_InitStruct.Mode = GPIO_MODE_AF_PP;
  GPIO_InitStruct.Pull = GPIO_NOPULL;
  GPIO_InitStruct.Speed = GPIO_SPEED_FREQ_VERY_HIGH;
  GPIO_InitStruct.Alternate = GPIO_AF10_QUADSPI;
  HAL_GPIO_Init(GPIOE, &GPIO_InitStruct);

  /*Configure GPIO pins : INTERNAL_I2C2_SCL_Pin INTERNAL_I2C2_SDA_Pin */
  GPIO_InitStruct.Pin = INTERNAL_I2C2_SCL_Pin|INTERNAL_I2C2_SDA_Pin;
  GPIO_InitStruct.Mode = GPIO_MODE_AF_OD;
  GPIO_InitStruct.Pull = GPIO_PULLUP;
  GPIO_InitStruct.Speed = GPIO_SPEED_FREQ_VERY_HIGH;
  GPIO_InitStruct.Alternate = GPIO_AF4_I2C2;
  HAL_GPIO_Init(GPIOB, &GPIO_InitStruct);

  /*Configure GPIO pins : INTERNAL_UART3_TX_Pin INTERNAL_UART3_RX_Pin */
  GPIO_InitStruct.Pin = INTERNAL_UART3_TX_Pin|INTERNAL_UART3_RX_Pin;
  GPIO_InitStruct.Mode = GPIO_MODE_AF_PP;
  GPIO_InitStruct.Pull = GPIO_NOPULL;
  GPIO_InitStruct.Speed = GPIO_SPEED_FREQ_VERY_HIGH;
  GPIO_InitStruct.Alternate = GPIO_AF7_USART3;
  HAL_GPIO_Init(GPIOD, &GPIO_InitStruct);

  /*Configure GPIO pins : LPS22HB_INT_DRDY_EXTI0_Pin LSM6DSL_INT1_EXTI11_Pin ARD_D2_Pin HTS221_DRDY_EXTI15_Pin
                           PMOD_IRQ_EXTI12_Pin */
  GPIO_InitStruct.Pin = LPS22HB_INT_DRDY_EXTI0_Pin|LSM6DSL_INT1_EXTI11_Pin|ARD_D2_Pin|HTS221_DRDY_EXTI15_Pin
                          |PMOD_IRQ_EXTI12_Pin;
  GPIO_InitStruct.Mode = GPIO_MODE_IT_RISING;
  GPIO_InitStruct.Pull = GPIO_NOPULL;
  HAL_GPIO_Init(GPIOD, &GPIO_InitStruct);

  /*Configure GPIO pins : USB_OTG_FS_PWR_EN_Pin SPBTLE_RF_SPI3_CSN_Pin PMOD_RESET_Pin STSAFE_A100_RESET_Pin */
  GPIO_InitStruct.Pin = USB_OTG_FS_PWR_EN_Pin|SPBTLE_RF_SPI3_CSN_Pin|PMOD_RESET_Pin|STSAFE_A100_RESET_Pin;
  GPIO_InitStruct.Mode = GPIO_MODE_OUTPUT_PP;
  GPIO_InitStruct.Pull = GPIO_NOPULL;
  GPIO_InitStruct.Speed = GPIO_SPEED_FREQ_LOW;
  HAL_GPIO_Init(GPIOD, &GPIO_InitStruct);

  /*Configure GPIO pins : VL53L0X_XSHUT_Pin LED3_WIFI__LED4_BLE_Pin */
  GPIO_InitStruct.Pin = VL53L0X_XSHUT_Pin|LED3_WIFI__LED4_BLE_Pin;
  GPIO_InitStruct.Mode = GPIO_MODE_OUTPUT_PP;
  GPIO_InitStruct.Pull = GPIO_NOPULL;
  GPIO_InitStruct.Speed = GPIO_SPEED_FREQ_LOW;
  HAL_GPIO_Init(GPIOC, &GPIO_InitStruct);

  /*Configure GPIO pins : VL53L0X_GPIO1_EXTI7_Pin LSM3MDL_DRDY_EXTI8_Pin */
  GPIO_InitStruct.Pin = VL53L0X_GPIO1_EXTI7_Pin|LSM3MDL_DRDY_EXTI8_Pin;
  GPIO_InitStruct.Mode = GPIO_MODE_IT_RISING;
  GPIO_InitStruct.Pull = GPIO_NOPULL;
  HAL_GPIO_Init(GPIOC, &GPIO_InitStruct);

  /*Configure GPIO pin : USB_OTG_FS_VBUS_Pin */
  GPIO_InitStruct.Pin = USB_OTG_FS_VBUS_Pin;
  GPIO_InitStruct.Mode = GPIO_MODE_INPUT;
  GPIO_InitStruct.Pull = GPIO_NOPULL;
  HAL_GPIO_Init(USB_OTG_FS_VBUS_GPIO_Port, &GPIO_InitStruct);

  /*Configure GPIO pins : USB_OTG_FS_ID_Pin USB_OTG_FS_DM_Pin USB_OTG_FS_DP_Pin */
  GPIO_InitStruct.Pin = USB_OTG_FS_ID_Pin|USB_OTG_FS_DM_Pin|USB_OTG_FS_DP_Pin;
  GPIO_InitStruct.Mode = GPIO_MODE_AF_PP;
  GPIO_InitStruct.Pull = GPIO_NOPULL;
  GPIO_InitStruct.Speed = GPIO_SPEED_FREQ_VERY_HIGH;
  GPIO_InitStruct.Alternate = GPIO_AF10_OTG_FS;
  HAL_GPIO_Init(GPIOA, &GPIO_InitStruct);

  /*Configure GPIO pins : INTERNAL_SPI3_SCK_Pin INTERNAL_SPI3_MISO_Pin INTERNAL_SPI3_MOSI_Pin */
  GPIO_InitStruct.Pin = INTERNAL_SPI3_SCK_Pin|INTERNAL_SPI3_MISO_Pin|INTERNAL_SPI3_MOSI_Pin;
  GPIO_InitStruct.Mode = GPIO_MODE_AF_PP;
  GPIO_InitStruct.Pull = GPIO_NOPULL;
  GPIO_InitStruct.Speed = GPIO_SPEED_FREQ_VERY_HIGH;
  GPIO_InitStruct.Alternate = GPIO_AF6_SPI3;
  HAL_GPIO_Init(GPIOC, &GPIO_InitStruct);

  /*Configure GPIO pin : PMOD_SPI2_SCK_Pin */
  GPIO_InitStruct.Pin = PMOD_SPI2_SCK_Pin;
  GPIO_InitStruct.Mode = GPIO_MODE_AF_PP;
  GPIO_InitStruct.Pull = GPIO_NOPULL;
  GPIO_InitStruct.Speed = GPIO_SPEED_FREQ_VERY_HIGH;
  GPIO_InitStruct.Alternate = GPIO_AF5_SPI2;
  HAL_GPIO_Init(PMOD_SPI2_SCK_GPIO_Port, &GPIO_InitStruct);

  /*Configure GPIO pins : PMOD_UART2_CTS_Pin PMOD_UART2_RTS_Pin PMOD_UART2_TX_Pin PMOD_UART2_RX_Pin */
  GPIO_InitStruct.Pin = PMOD_UART2_CTS_Pin|PMOD_UART2_RTS_Pin|PMOD_UART2_TX_Pin|PMOD_UART2_RX_Pin;
  GPIO_InitStruct.Mode = GPIO_MODE_AF_PP;
  GPIO_InitStruct.Pull = GPIO_NOPULL;
  GPIO_InitStruct.Speed = GPIO_SPEED_FREQ_VERY_HIGH;
  GPIO_InitStruct.Alternate = GPIO_AF7_USART2;
  HAL_GPIO_Init(GPIOD, &GPIO_InitStruct);

  /*Configure GPIO pins : ARD_D15_Pin ARD_D14_Pin */
  GPIO_InitStruct.Pin = ARD_D15_Pin|ARD_D14_Pin;
  GPIO_InitStruct.Mode = GPIO_MODE_AF_OD;
  GPIO_InitStruct.Pull = GPIO_PULLUP;
  GPIO_InitStruct.Speed = GPIO_SPEED_FREQ_VERY_HIGH;
  GPIO_InitStruct.Alternate = GPIO_AF4_I2C1;
  HAL_GPIO_Init(GPIOB, &GPIO_InitStruct);

  /* EXTI interrupt init*/
  HAL_NVIC_SetPriority(EXTI9_5_IRQn, 0, 0);
  HAL_NVIC_EnableIRQ(EXTI9_5_IRQn);

  HAL_NVIC_SetPriority(EXTI15_10_IRQn, 0, 0);
  HAL_NVIC_EnableIRQ(EXTI15_10_IRQn);

}

void _Error_Handler(char *file, int line)
{
  while(1)
  {
  }
}

/************************ (C) COPYRIGHT STMicroelectronics *****END OF FILE****/
